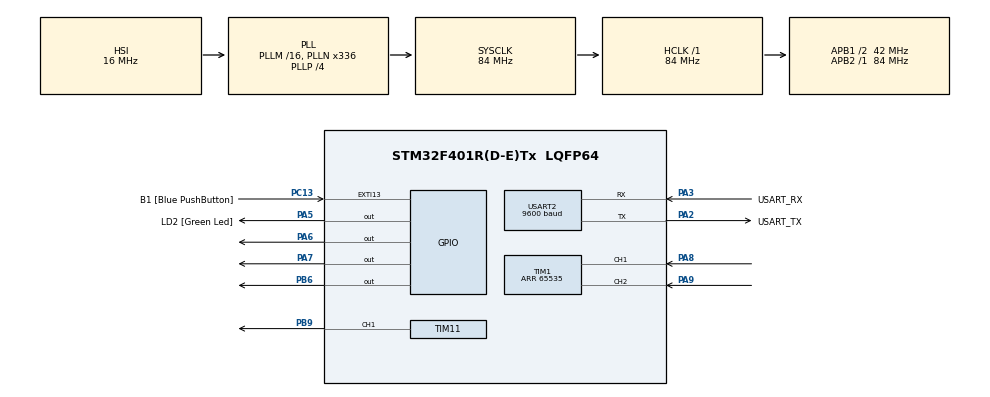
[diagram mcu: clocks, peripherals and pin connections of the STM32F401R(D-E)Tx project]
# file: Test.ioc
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Mcu.Family=STM32F4
Mcu.Name=STM32F401R(D-E)Tx
Mcu.Package=LQFP64
NVIC.PriorityGroup=NVIC_PRIORITYGROUP_0
NVIC.TIM1_BRK_TIM9_IRQn=true\:0\:0\:false\:false\:true
NVIC.TIM1_CC_IRQn=true\:0\:0\:false\:false\:true
NVIC.TIM1_TRG_COM_TIM11_IRQn=true\:0\:0\:false\:false\:true
NVIC.TIM1_UP_TIM10_IRQn=true\:0\:0\:false\:false\:true
PA13.GPIO_Label=TMS
PA13.Signal=SYS_JTMS-SWDIO
PA14.GPIO_Label=TCK
PA14.Signal=SYS_JTCK-SWCLK
PA2.GPIO_Label=USART_TX
PA2.GPIO_Speed=GPIO_SPEED_FREQ_HIGH
PA2.Mode=Asynchronous
PA2.Signal=USART2_TX
PA3.GPIO_Label=USART_RX
PA3.GPIO_Mode=GPIO_MODE_AF_PP
PA3.GPIO_PuPd=GPIO_PULLUP
PA3.GPIO_Speed=GPIO_SPEED_FREQ_HIGH
PA3.Mode=Asynchronous
PA3.Signal=USART2_RX
PA5.GPIO_Label=LD2 [Green Led]
PA5.GPIO_Mode=GPIO_MODE_OUTPUT_PP
PA5.GPIO_PuPd=GPIO_NOPULL
PA5.GPIO_Speed=GPIO_SPEED_FREQ_LOW
PA5.Signal=GPIO_Output
PA6.Signal=GPIO_Output
PA7.Signal=GPIO_Output
PA8.Signal=S_TIM1_CH1
PA9.Signal=S_TIM1_CH2
PB3.GPIO_Label=SWO
PB3.Signal=SYS_JTDO-SWO
PB6.Signal=GPIO_Output
PB9.Signal=S_TIM11_CH1
PC13-ANTI_TAMP.GPIO_Label=B1 [Blue PushButton]
PC13-ANTI_TAMP.GPIO_ModeDefaultEXTI=GPIO_MODE_IT_FALLING
PC13-ANTI_TAMP.GPIO_PuPd=GPIO_NOPULL
PC13-ANTI_TAMP.Signal=GPXTI13
PC14-OSC32_IN.Signal=RCC_OSC32_IN
PC15-OSC32_OUT.Signal=RCC_OSC32_OUT
PH0\ -\ OSC_IN.Signal=RCC_OSC_IN
PH1\ -\ OSC_OUT.Signal=RCC_OSC_OUT
ProjectManager.HeapSize=0x200
ProjectManager.StackSize=0x400
ProjectManager.TargetToolchain=MDK-ARM V5
RCC.AHBFreq_Value=84000000
RCC.APB1CLKDivider=RCC_HCLK_DIV2
RCC.APB1Freq_Value=42000000
RCC.APB1TimFreq_Value=84000000
RCC.APB2Freq_Value=84000000
RCC.APB2TimFreq_Value=84000000
RCC.CortexFreq_Value=84000000
RCC.HCLKFreq_Value=84000000
RCC.HSE_VALUE=8000000
RCC.HSI_VALUE=16000000
RCC.LSE_VALUE=32768
RCC.PLLN=336
RCC.PLLP=RCC_PLLP_DIV4
RCC.PLLQ=7
RCC.SYSCLKFreq_VALUE=84000000
RCC.SYSCLKSource=RCC_SYSCLKSOURCE_PLLCLK
RCC.VCOOutputFreq_Value=336000000
SH.S_TIM11_CH1.0=TIM11_CH1,PWM Generation1 CH1
SH.S_TIM1_CH1.0=TIM1_CH1,Encoder_Interface
SH.S_TIM1_CH2.0=TIM1_CH2,Encoder_Interface
TIM1.EncoderMode=TIM_ENCODERMODE_TI12
TIM1.Period=65535
TIM11.Channel=TIM_CHANNEL_1
TIM11.Period=999
TIM11.Prescaler=63
USART2.BaudRate=9600
USART2.VirtualMode=VM_ASYNC
VP_TIM11_VS_ClockSourceINT.Mode=Enable_Timer
board=NUCLEO-F401RE

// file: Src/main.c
/**
  ******************************************************************************
  * File Name          : main.c
  * Description        : Main program body
  ******************************************************************************
  ** This notice applies to any and all portions of this file
  * that are not between comment pairs USER CODE BEGIN and
  * USER CODE END. Other portions of this file, whether
  * inserted by the user or by software development tools
  * are owned by their respective copyright owners.
  *
  * COPYRIGHT(c) 2017 STMicroelectronics
  *
  * Redistribution and use in source and binary forms, with or without modification,
  * are permitted provided that the following conditions are met:
  *   1. Redistributions of source code must retain the above copyright notice,
  *      this list of conditions and the following disclaimer.
  *   2. Redistributions in binary form must reproduce the above copyright notice,
  *      this list of conditions and the following disclaimer in the documentation
  *      and/or other materials provided with the distribution.
  *   3. Neither the name of STMicroelectronics nor the names of its contributors
  *      may be used to endorse or promote products derived from this software
  *      without specific prior written permission.
  *
  * THIS SOFTWARE IS PROVIDED BY THE COPYRIGHT HOLDERS AND CONTRIBUTORS "AS IS"
  * AND ANY EXPRESS OR IMPLIED WARRANTIES, INCLUDING, BUT NOT LIMITED TO, THE
  * IMPLIED WARRANTIES OF MERCHANTABILITY AND FITNESS FOR A PARTICULAR PURPOSE ARE
  * DISCLAIMED. IN NO EVENT SHALL THE COPYRIGHT HOLDER OR CONTRIBUTORS BE LIABLE
  * FOR ANY DIRECT, INDIRECT, INCIDENTAL, SPECIAL, EXEMPLARY, OR CONSEQUENTIAL
  * DAMAGES (INCLUDING, BUT NOT LIMITED TO, PROCUREMENT OF SUBSTITUTE GOODS OR
  * SERVICES; LOSS OF USE, DATA, OR PROFITS; OR BUSINESS INTERRUPTION) HOWEVER
  * CAUSED AND ON ANY THEORY OF LIABILITY, WHETHER IN CONTRACT, STRICT LIABILITY,
  * OR TORT (INCLUDING NEGLIGENCE OR OTHERWISE) ARISING IN ANY WAY OUT OF THE USE
  * OF THIS SOFTWARE, EVEN IF ADVISED OF THE POSSIBILITY OF SUCH DAMAGE.
  *
  ******************************************************************************
  */
#include "main.h"
#include "stm32f4xx_hal.h"

/* USER CODE BEGIN Includes */
#include <string.h>

/* USER CODE END Includes */

TIM_HandleTypeDef htim1;
TIM_HandleTypeDef htim11;

UART_HandleTypeDef huart2;

/* USER CODE BEGIN PV */
/* Private variables ---------------------------------------------------------*/

/* USER CODE END PV */

void SystemClock_Config(void);
static void MX_GPIO_Init(void);
static void MX_USART2_UART_Init(void);
static void MX_TIM11_Init(void);
static void MX_TIM1_Init(void);

void HAL_TIM_MspPostInit(TIM_HandleTypeDef *htim);

/* USER CODE BEGIN PFP */
/* Private function prototypes -----------------------------------------------*/

/* USER CODE END PFP */

/* USER CODE BEGIN 0 */

TIM_OC_InitTypeDef sConfigOC;
/* USER CODE END 0 */

int main(void)
{

  /* MCU Configuration----------------------------------------------------------*/

  /* Reset of all peripherals, Initializes the Flash interface and the Systick. */
  HAL_Init();

  /* Configure the system clock */
  SystemClock_Config();

  /* Initialize all configured peripherals */
  MX_GPIO_Init();
  MX_USART2_UART_Init();
  MX_TIM11_Init();
  MX_TIM1_Init();

  /* USER CODE BEGIN 2 */
  //		HAL_GPIO_WritePin(GPIOB,GPIO_PIN_6,GPIO_PIN_SET);
  HAL_TIM_Encoder_Start(&htim1, TIM_CHANNEL_ALL);
  /* USER CODE END 2 */

  /* Infinite loop */
  while (1)
  {

    /* USER CODE BEGIN 3 */
    int pulse = 0;
    HAL_GPIO_WritePin(GPIOA, GPIO_PIN_7, GPIO_PIN_SET);
    HAL_GPIO_WritePin(GPIOA, GPIO_PIN_6, GPIO_PIN_RESET);
    while (pulse < 1000)
    {
      sConfigOC.Pulse = pulse;
      if (HAL_TIM_PWM_ConfigChannel(&htim11, &sConfigOC, TIM_CHANNEL_1) != HAL_OK)
      {
        Error_Handler();
      }
      if (HAL_TIM_PWM_Start(&htim11, TIM_CHANNEL_1) != HAL_OK)
      {
        Error_Handler();
      }
      HAL_Delay(10);
      pulse += 5;
    }

    HAL_Delay(500);
    while (pulse > 0)
    {
      sConfigOC.Pulse = pulse;
      if (HAL_TIM_PWM_ConfigChannel(&htim11, &sConfigOC, TIM_CHANNEL_1) != HAL_OK)
      {
        Error_Handler();
      }
      if (HAL_TIM_PWM_Start(&htim11, TIM_CHANNEL_1) != HAL_OK)
      {
        Error_Handler();
      }
      HAL_Delay(10);
      pulse -= 5;
    }
    HAL_GPIO_WritePin(GPIOB, GPIO_PIN_9, GPIO_PIN_RESET);
    HAL_Delay(500);
  }
  /* USER CODE END 3 */
}

/** System Clock Configuration
*/
void SystemClock_Config(void)
{

  RCC_OscInitTypeDef RCC_OscInitStruct;
  RCC_ClkInitTypeDef RCC_ClkInitStruct;

  /**Configure the main internal regulator output voltage
    */
  __HAL_RCC_PWR_CLK_ENABLE();

  __HAL_PWR_VOLTAGESCALING_CONFIG(PWR_REGULATOR_VOLTAGE_SCALE2);

  /**Initializes the CPU, AHB and APB busses clocks
    */
  RCC_OscInitStruct.OscillatorType = RCC_OSCILLATORTYPE_HSI;
  RCC_OscInitStruct.HSIState = RCC_HSI_ON;
  RCC_OscInitStruct.HSICalibrationValue = 16;
  RCC_OscInitStruct.PLL.PLLState = RCC_PLL_ON;
  RCC_OscInitStruct.PLL.PLLSource = RCC_PLLSOURCE_HSI;
  RCC_OscInitStruct.PLL.PLLM = 16;
  RCC_OscInitStruct.PLL.PLLN = 336;
  RCC_OscInitStruct.PLL.PLLP = RCC_PLLP_DIV4;
  RCC_OscInitStruct.PLL.PLLQ = 7;
  if (HAL_RCC_OscConfig(&RCC_OscInitStruct) != HAL_OK)
  {
    _Error_Handler(__FILE__, __LINE__);
  }

  /**Initializes the CPU, AHB and APB busses clocks
    */
  RCC_ClkInitStruct.ClockType = RCC_CLOCKTYPE_HCLK | RCC_CLOCKTYPE_SYSCLK | RCC_CLOCKTYPE_PCLK1 | RCC_CLOCKTYPE_PCLK2;
  RCC_ClkInitStruct.SYSCLKSource = RCC_SYSCLKSOURCE_PLLCLK;
  RCC_ClkInitStruct.AHBCLKDivider = RCC_SYSCLK_DIV1;
  RCC_ClkInitStruct.APB1CLKDivider = RCC_HCLK_DIV2;
  RCC_ClkInitStruct.APB2CLKDivider = RCC_HCLK_DIV1;

  if (HAL_RCC_ClockConfig(&RCC_ClkInitStruct, FLASH_LATENCY_2) != HAL_OK)
  {
    _Error_Handler(__FILE__, __LINE__);
  }

  /**Configure the Systick interrupt time
    */
  HAL_SYSTICK_Config(HAL_RCC_GetHCLKFreq() / 1000);

  /**Configure the Systick
    */
  HAL_SYSTICK_CLKSourceConfig(SYSTICK_CLKSOURCE_HCLK);

  /* SysTick_IRQn interrupt configuration */
  HAL_NVIC_SetPriority(SysTick_IRQn, 0, 0);
}

/* TIM1 init function */
static void MX_TIM1_Init(void)
{

  TIM_Encoder_InitTypeDef sConfig;
  TIM_MasterConfigTypeDef sMasterConfig;

  htim1.Instance = TIM1;
  htim1.Init.Prescaler = 0;
  htim1.Init.CounterMode = TIM_COUNTERMODE_UP;
  htim1.Init.Period = 65535;
  htim1.Init.ClockDivision = TIM_CLOCKDIVISION_DIV1;
  htim1.Init.RepetitionCounter = 0;
  sConfig.EncoderMode = TIM_ENCODERMODE_TI12;
  sConfig.IC1Polarity = TIM_ICPOLARITY_RISING;
  sConfig.IC1Selection = TIM_ICSELECTION_DIRECTTI;
  sConfig.IC1Prescaler = TIM_ICPSC_DIV1;
  sConfig.IC1Filter = 0;
  sConfig.IC2Polarity = TIM_ICPOLARITY_RISING;
  sConfig.IC2Selection = TIM_ICSELECTION_DIRECTTI;
  sConfig.IC2Prescaler = TIM_ICPSC_DIV1;
  sConfig.IC2Filter = 0;
  if (HAL_TIM_Encoder_Init(&htim1, &sConfig) != HAL_OK)
  {
    _Error_Handler(__FILE__, __LINE__);
  }

  sMasterConfig.MasterOutputTrigger = TIM_TRGO_RESET;
  sMasterConfig.MasterSlaveMode = TIM_MASTERSLAVEMODE_DISABLE;
  if (HAL_TIMEx_MasterConfigSynchronization(&htim1, &sMasterConfig) != HAL_OK)
  {
    _Error_Handler(__FILE__, __LINE__);
  }
}

/* TIM11 init function */
static void MX_TIM11_Init(void)
{

  TIM_OC_InitTypeDef sConfigOC;

  htim11.Instance = TIM11;
  htim11.Init.Prescaler = 63;
  htim11.Init.CounterMode = TIM_COUNTERMODE_UP;
  htim11.Init.Period = 999;
  htim11.Init.ClockDivision = TIM_CLOCKDIVISION_DIV1;
  if (HAL_TIM_Base_Init(&htim11) != HAL_OK)
  {
    _Error_Handler(__FILE__, __LINE__);
  }

  if (HAL_TIM_PWM_Init(&htim11) != HAL_OK)
  {
    _Error_Handler(__FILE__, __LINE__);
  }

  sConfigOC.OCMode = TIM_OCMODE_PWM1;
  sConfigOC.Pulse = 0;
  sConfigOC.OCPolarity = TIM_OCPOLARITY_HIGH;
  sConfigOC.OCFastMode = TIM_OCFAST_DISABLE;
  if (HAL_TIM_PWM_ConfigChannel(&htim11, &sConfigOC, TIM_CHANNEL_1) != HAL_OK)
  {
    _Error_Handler(__FILE__, __LINE__);
  }

  HAL_TIM_MspPostInit(&htim11);
}

/* USART2 init function */
static void MX_USART2_UART_Init(void)
{

  huart2.Instance = USART2;
  huart2.Init.BaudRate = 9600;
  huart2.Init.WordLength = UART_WORDLENGTH_8B;
  huart2.Init.StopBits = UART_STOPBITS_1;
  huart2.Init.Parity = UART_PARITY_NONE;
  huart2.Init.Mode = UART_MODE_TX_RX;
  huart2.Init.HwFlowCtl = UART_HWCONTROL_NONE;
  huart2.Init.OverSampling = UART_OVERSAMPLING_16;
  if (HAL_UART_Init(&huart2) != HAL_OK)
  {
    _Error_Handler(__FILE__, __LINE__);
  }
}

/** Configure pins as
        * Analog
        * Input
        * Output
        * EVENT_OUT
        * EXTI
*/
static void MX_GPIO_Init(void)
{

  GPIO_InitTypeDef GPIO_InitStruct;

  /* GPIO Ports Clock Enable */
  __HAL_RCC_GPIOC_CLK_ENABLE();
  __HAL_RCC_GPIOH_CLK_ENABLE();
  __HAL_RCC_GPIOA_CLK_ENABLE();
  __HAL_RCC_GPIOB_CLK_ENABLE();

  /*Configure GPIO pin Output Level */
  HAL_GPIO_WritePin(GPIOA, LD2_Pin | GPIO_PIN_6 | GPIO_PIN_7, GPIO_PIN_RESET);

  /*Configure GPIO pin Output Level */
  HAL_GPIO_WritePin(GPIOB, GPIO_PIN_6, GPIO_PIN_RESET);

  /*Configure GPIO pin : B1_Pin */
  GPIO_InitStruct.Pin = B1_Pin;
  GPIO_InitStruct.Mode = GPIO_MODE_IT_FALLING;
  GPIO_InitStruct.Pull = GPIO_NOPULL;
  HAL_GPIO_Init(B1_GPIO_Port, &GPIO_InitStruct);

  /*Configure GPIO pins : LD2_Pin PA6 PA7 */
  GPIO_InitStruct.Pin = LD2_Pin | GPIO_PIN_6 | GPIO_PIN_7;
  GPIO_InitStruct.Mode = GPIO_MODE_OUTPUT_PP;
  GPIO_InitStruct.Pull = GPIO_NOPULL;
  GPIO_InitStruct.Speed = GPIO_SPEED_FREQ_LOW;
  HAL_GPIO_Init(GPIOA, &GPIO_InitStruct);

  /*Configure GPIO pin : PB6 */
  GPIO_InitStruct.Pin = GPIO_PIN_6;
  GPIO_InitStruct.Mode = GPIO_MODE_OUTPUT_PP;
  GPIO_InitStruct.Pull = GPIO_NOPULL;
  GPIO_InitStruct.Speed = GPIO_SPEED_FREQ_LOW;
  HAL_GPIO_Init(GPIOB, &GPIO_InitStruct);
}

void _Error_Handler(char *file, int line)
{
  while (1)
  {
  }
}

/************************ (C) COPYRIGHT STMicroelectronics *****END OF FILE****/
